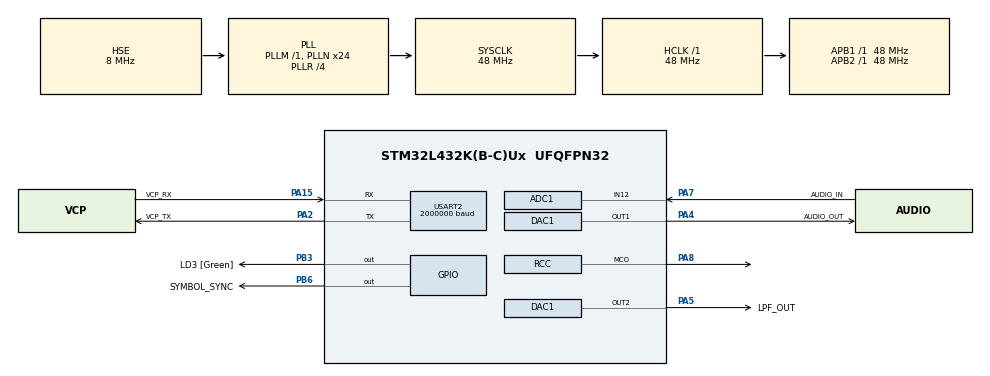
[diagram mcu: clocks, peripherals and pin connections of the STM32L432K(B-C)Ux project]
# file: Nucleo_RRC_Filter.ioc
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ADC1.Channel-0\#ChannelRegularConversion=ADC_CHANNEL_12
ADC1.DMAContinuousRequests=ENABLE
ADC1.ExternalTrigConv=ADC_EXTERNALTRIG_T6_TRGO
ADC1.NbrOfConversionFlag=1
ADC1.OffsetNumber-0\#ChannelRegularConversion=ADC_OFFSET_NONE
ADC1.Rank-0\#ChannelRegularConversion=1
ADC1.SamplingTime-0\#ChannelRegularConversion=ADC_SAMPLETIME_640CYCLES_5
ADC1.master=1
DAC1.DAC_Channel-DAC_OUT2=DAC_CHANNEL_2
DAC1.DAC_Trigger-DAC_OUT1=DAC_TRIGGER_T7_TRGO
DAC1.DAC_Trigger-DAC_OUT2=DAC_TRIGGER_T7_TRGO
Dma.ADC1.0.Direction=DMA_PERIPH_TO_MEMORY
Dma.ADC1.0.Instance=DMA1_Channel1
Dma.ADC1.0.MemDataAlignment=DMA_MDATAALIGN_HALFWORD
Dma.ADC1.0.MemInc=DMA_MINC_ENABLE
Dma.ADC1.0.Mode=DMA_CIRCULAR
Dma.ADC1.0.PeriphDataAlignment=DMA_PDATAALIGN_HALFWORD
Dma.ADC1.0.PeriphInc=DMA_PINC_DISABLE
Dma.ADC1.0.Priority=DMA_PRIORITY_LOW
Dma.DAC_CH1.1.Direction=DMA_MEMORY_TO_PERIPH
Dma.DAC_CH1.1.Instance=DMA1_Channel3
Dma.DAC_CH1.1.MemDataAlignment=DMA_MDATAALIGN_HALFWORD
Dma.DAC_CH1.1.MemInc=DMA_MINC_ENABLE
Dma.DAC_CH1.1.Mode=DMA_CIRCULAR
Dma.DAC_CH1.1.PeriphDataAlignment=DMA_PDATAALIGN_HALFWORD
Dma.DAC_CH1.1.PeriphInc=DMA_PINC_DISABLE
Dma.DAC_CH1.1.Priority=DMA_PRIORITY_LOW
Dma.DAC_CH2.4.Direction=DMA_MEMORY_TO_PERIPH
Dma.DAC_CH2.4.Instance=DMA1_Channel4
Dma.DAC_CH2.4.MemDataAlignment=DMA_MDATAALIGN_HALFWORD
Dma.DAC_CH2.4.MemInc=DMA_MINC_ENABLE
Dma.DAC_CH2.4.Mode=DMA_CIRCULAR
Dma.DAC_CH2.4.PeriphDataAlignment=DMA_PDATAALIGN_HALFWORD
Dma.DAC_CH2.4.PeriphInc=DMA_PINC_DISABLE
Dma.DAC_CH2.4.Priority=DMA_PRIORITY_LOW
Dma.Request0=ADC1
Dma.Request1=DAC_CH1
Dma.Request2=USART2_RX
Dma.Request3=USART2_TX
Dma.Request4=DAC_CH2
Dma.USART2_RX.2.Direction=DMA_PERIPH_TO_MEMORY
Dma.USART2_RX.2.Instance=DMA1_Channel6
Dma.USART2_RX.2.MemDataAlignment=DMA_MDATAALIGN_BYTE
Dma.USART2_RX.2.MemInc=DMA_MINC_ENABLE
Dma.USART2_RX.2.Mode=DMA_NORMAL
Dma.USART2_RX.2.PeriphDataAlignment=DMA_PDATAALIGN_BYTE
Dma.USART2_RX.2.PeriphInc=DMA_PINC_DISABLE
Dma.USART2_RX.2.Priority=DMA_PRIORITY_LOW
Dma.USART2_TX.3.Direction=DMA_MEMORY_TO_PERIPH
Dma.USART2_TX.3.Instance=DMA1_Channel7
Dma.USART2_TX.3.MemDataAlignment=DMA_MDATAALIGN_BYTE
Dma.USART2_TX.3.MemInc=DMA_MINC_ENABLE
Dma.USART2_TX.3.Mode=DMA_NORMAL
Dma.USART2_TX.3.PeriphDataAlignment=DMA_PDATAALIGN_BYTE
Dma.USART2_TX.3.PeriphInc=DMA_PINC_DISABLE
Dma.USART2_TX.3.Priority=DMA_PRIORITY_LOW
Mcu.Family=STM32L4
Mcu.Name=STM32L432K(B-C)Ux
Mcu.Package=UFQFPN32
NVIC.DMA1_Channel1_IRQn=true\:0\:0\:false\:false\:true\:false\:true\:true
NVIC.DMA1_Channel3_IRQn=true\:0\:0\:false\:false\:true\:false\:true\:true
NVIC.DMA1_Channel4_IRQn=true\:0\:0\:false\:false\:true\:false\:true\:true
NVIC.DMA1_Channel6_IRQn=true\:0\:0\:false\:false\:true\:false\:true\:true
NVIC.DMA1_Channel7_IRQn=true\:0\:0\:false\:false\:true\:false\:true\:true
NVIC.PriorityGroup=NVIC_PRIORITYGROUP_4
PA0.GPIO_Label=MCO [High speed clock in]
PA0.Mode=HSE-External-Clock-Source-for-LittleOrca
PA0.Signal=RCC_CK_IN
PA13\ (JTMS-SWDIO).GPIO_Label=SWDIO
PA13\ (JTMS-SWDIO).Mode=Serial_Wire
PA13\ (JTMS-SWDIO).Signal=SYS_JTMS-SWDIO
PA14\ (JTCK-SWCLK).GPIO_Label=SWCLK
PA14\ (JTCK-SWCLK).Mode=Serial_Wire
PA14\ (JTCK-SWCLK).Signal=SYS_JTCK-SWCLK
PA15\ (JTDI).GPIO_Label=VCP_RX
PA15\ (JTDI).Mode=Asynchronous
PA15\ (JTDI).Signal=USART2_RX
PA2.GPIO_Label=VCP_TX
PA2.Mode=Asynchronous
PA2.Signal=USART2_TX
PA4.GPIO_Label=AUDIO_OUT
PA4.Signal=COMP_DAC11_group
PA5.GPIO_Label=LPF_OUT
PA5.Signal=COMP_DAC12_group
PA7.GPIO_Label=AUDIO_IN
PA7.Signal=ADCx_IN12
PA8.Mode=Clock-out
PA8.Signal=RCC_MCO
PB3\ (JTDO-TRACESWO).GPIO_Label=LD3 [Green]
PB3\ (JTDO-TRACESWO).Signal=GPIO_Output
PB6.GPIO_Label=SYMBOL_SYNC
PB6.Signal=GPIO_Output
PC14-OSC32_IN\ (PC14).Mode=LSE-External-Oscillator
PC14-OSC32_IN\ (PC14).Signal=RCC_OSC32_IN
PC15-OSC32_OUT\ (PC15).Mode=LSE-External-Oscillator
PC15-OSC32_OUT\ (PC15).Signal=RCC_OSC32_OUT
ProjectManager.HeapSize=0x200
ProjectManager.StackSize=0x400
ProjectManager.TargetToolchain=CMake
RCC.ADCFreq_Value=32000000
RCC.AHBFreq_Value=48000000
RCC.APB1Freq_Value=48000000
RCC.APB1TimFreq_Value=48000000
RCC.APB2Freq_Value=48000000
RCC.APB2TimFreq_Value=48000000
RCC.CortexFreq_Value=48000000
RCC.HCLKFreq_Value=48000000
RCC.HSE_VALUE=8000000
RCC.HSI16_VALUE=16000000
RCC.HSI48_VALUE=48000000
RCC.HSI_VALUE=16000000
RCC.MSI_VALUE=4000000
RCC.PLLMUL=RCC_PLLMUL_4
RCC.PLLN=24
RCC.PLLR=RCC_PLLR_DIV4
RCC.PLLSourceVirtual=RCC_PLLSOURCE_HSE
RCC.RCC_MCODiv=RCC_MCODIV_8
RCC.SYSCLKFreq_VALUE=48000000
RCC.SYSCLKSource=RCC_SYSCLKSOURCE_PLLCLK
RCC.USART2CLockSelection=RCC_USART2CLKSOURCE_SYSCLK
RCC.USBFreq_Value=32000000
RCC.VCOOutputFreq_Value=192000000
SH.ADCx_IN12.0=ADC1_IN12,IN12-Single-Ended
SH.COMP_DAC11_group.0=DAC1_OUT1,DAC_OUT1
SH.COMP_DAC12_group.0=DAC1_OUT2,DAC_OUT2
STMicroelectronics.X-CUBE-ALGOBUILD.1.4.0.LibraryCcDSPOoLibraryJjDSPOoLibrary=true
TIM6.AutoReloadPreload=TIM_AUTORELOAD_PRELOAD_ENABLE
TIM6.Period=999
TIM6.Prescaler=0
TIM6.TIM_MasterOutputTrigger=TIM_TRGO_UPDATE
TIM7.AutoReloadPreload=TIM_AUTORELOAD_PRELOAD_ENABLE
TIM7.Period=999
TIM7.Prescaler=0
TIM7.TIM_MasterOutputTrigger=TIM_TRGO_UPDATE
USART2.BaudRate=2000000
USART2.OverSampling=UART_OVERSAMPLING_8
USART2.VirtualMode-Asynchronous=VM_ASYNC
VP_STMicroelectronics.X-CUBE-ALGOBUILD_VS_DSPOoLibraryJjLibrary_1.4.0_1.4.0.Mode=DSPOoLibraryJjLibrary
VP_TIM6_VS_ClockSourceINT.Mode=Enable_Timer
VP_TIM7_VS_ClockSourceINT.Mode=Enable_Timer
board=NUCLEO-L432KC

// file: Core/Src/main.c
/* USER CODE BEGIN Header */
/**
  ******************************************************************************
  * @file           : main.c
  * @brief          : Main program body
  ******************************************************************************
  * @attention
  *
  * Copyright (c) 2024 STMicroelectronics.
  * All rights reserved.
  *
  * This software is licensed under terms that can be found in the LICENSE file
  * in the root directory of this software component.
  * If no LICENSE file comes with this software, it is provided AS-IS.
  *
  ******************************************************************************
  */
/* USER CODE END Header */
#include "main.h"

/* USER CODE BEGIN Includes */

#include "arm_math.h"

/* USER CODE END Includes */

ADC_HandleTypeDef hadc1;
DMA_HandleTypeDef hdma_adc1;

DAC_HandleTypeDef hdac1;
DMA_HandleTypeDef hdma_dac_ch1;
DMA_HandleTypeDef hdma_dac_ch2;

TIM_HandleTypeDef htim6;
TIM_HandleTypeDef htim7;

UART_HandleTypeDef huart2;
DMA_HandleTypeDef hdma_usart2_rx;
DMA_HandleTypeDef hdma_usart2_tx;

/* USER CODE BEGIN PV */

typedef enum { NONE, FIRST, SECOND } DmaState;
volatile DmaState adcState = 0;
volatile DmaState dacState = 0;

#define BLOCK_SIZE 10

uint16_t adc_buffer[BLOCK_SIZE * 2];
uint16_t dac_buffer[BLOCK_SIZE * 4];
uint16_t dac1_buffer[BLOCK_SIZE * 2];
uint16_t dac2_buffer[BLOCK_SIZE * 2];

/* USER CODE END PV */

void SystemClock_Config(void);
static void MX_GPIO_Init(void);
static void MX_DMA_Init(void);
static void MX_USART2_UART_Init(void);
static void MX_ADC1_Init(void);
static void MX_DAC1_Init(void);
static void MX_TIM6_Init(void);
static void MX_TIM7_Init(void);
/* USER CODE BEGIN PFP */
static void rrc_filter(void);
/* USER CODE END PFP */

/* USER CODE BEGIN 0 */

// DMA Conversion half complete.
void HAL_DAC_ConvHalfCpltCallbackCh1(DAC_HandleTypeDef*) {
  dacState = 1;
  HAL_GPIO_WritePin(LD3_GPIO_Port, LD3_Pin, GPIO_PIN_SET);
}

void HAL_DAC_ConvCpltCallbackCh1(DAC_HandleTypeDef*) {
  dacState = 2;
  HAL_GPIO_WritePin(LD3_GPIO_Port, LD3_Pin, GPIO_PIN_RESET);
}

// DMA Conversion first half complete.
void HAL_ADC_ConvHalfCpltCallback(ADC_HandleTypeDef* hadc) {
  UNUSED(hadc);
  adcState = FIRST;
}

// DMA Conversion second half complete.
void HAL_ADC_ConvCpltCallback(ADC_HandleTypeDef* hadc) {
  UNUSED(hadc);
  adcState = SECOND;
}

static const int16_t filter_taps[] = {
    -17, -19, -16, -10, -2, 7, 15, 20, 20, 15, 6, -6, -18, -27, -31, -28, -19, -3, 15, 33, 46, 52, 47, 32, 9, -17, -41, -57, -60, -46, -17, 25, 70, 109, 130, 124, 82, 4, -104, -230, -355, -452, -495, -460, -326, -83, 269, 716, 1231, 1778, 2313, 2790, 3167, 3409, 3492, 3409, 3167, 2790, 2313, 1778, 1231, 716, 269, -83, -326, -460, -495, -452, -355, -230, -104, 4, 82, 124, 130, 109, 70, 25, -17, -46, -60, -57, -41, -17, 9, 32, 47, 52, 46, 33, 15, -3, -19, -28, -31, -27, -18, -6, 6, 15, 20, 20, 15, 7, -2, -10, -16, -19, -17, 0
};

#define TAPS (sizeof(filter_taps) / sizeof(int16_t))

static q15_t fir_state[TAPS + BLOCK_SIZE];

volatile uint16_t ym1 = 0;
uint16_t lp_filter(uint16_t x)
{
  uint16_t y = ym1 + (((x << 3) - ym1) >> 13);
  ym1 = y;

  return y >> 3;
}

HAL_StatusTypeDef start_dac_dual_dma(DAC_HandleTypeDef *hdac, uint32_t *pData, uint32_t Length)
{
  HAL_StatusTypeDef status;
  uint32_t tmpreg = 0U;

  /* Process locked */
  __HAL_LOCK(hdac);

  /* Change DAC state */
  hdac->State = HAL_DAC_STATE_BUSY;

  /* Set the DMA transfer complete callback for channel1 */
  hdac->DMA_Handle1->XferCpltCallback = DAC_DMAConvCpltCh1;

  /* Set the DMA half transfer complete callback for channel1 */
  hdac->DMA_Handle1->XferHalfCpltCallback = DAC_DMAHalfConvCpltCh1;

  /* Set the DMA error callback for channel1 */
  hdac->DMA_Handle1->XferErrorCallback = DAC_DMAErrorCh1;

  /* Enable the selected DAC channel1 DMA request */
  SET_BIT(hdac->Instance->CR, DAC_CR_DMAEN1);

  tmpreg = (uint32_t) hdac->Instance;
  tmpreg += DAC_DHR12RD_ALIGNMENT(DAC_ALIGN_12B_R);

  /* Enable the DMA channel */
  /* Enable the DAC DMA underrun interrupt */
  __HAL_DAC_ENABLE_IT(hdac, DAC_IT_DMAUDR1);

  /* Enable the DMA channel */
  status = HAL_DMA_Start_IT(hdac->DMA_Handle1, (uint32_t)pData, tmpreg, Length);

  /* Process Unlocked */
  __HAL_UNLOCK(hdac);

  if (status == HAL_OK)
  {
    /* Enable the Peripheral */
    __HAL_DAC_ENABLE(hdac, DAC_CHANNEL_1);
    __HAL_DAC_ENABLE(hdac, DAC_CHANNEL_2);

  }
  else
  {
    hdac->ErrorCode |= HAL_DAC_ERROR_DMA;
  }

  /* Return function status */
  return status;
}

void rrc_filter()
{
  arm_fir_instance_q15 fir_instance;
  q15_t raw_data[BLOCK_SIZE];
  q15_t filtered_data[BLOCK_SIZE];

  arm_fir_init_q15(&fir_instance, TAPS, filter_taps, fir_state, BLOCK_SIZE);
  if (HAL_TIM_Base_Start(&htim6) != HAL_OK) Error_Handler();
  if (HAL_TIM_Base_Start(&htim7) != HAL_OK) Error_Handler();

  if (HAL_ADC_Start_DMA(&hadc1, (uint32_t*) adc_buffer, BLOCK_SIZE * 2) != HAL_OK) Error_Handler();

  uint32_t block_count = 0;
  const uint32_t TIMER_ADJUST = 120;

  while (1) {
    switch (adcState) {
      case FIRST:
        adcState = NONE;
        for (size_t i = 0; i != BLOCK_SIZE; ++i) {
          raw_data[i] = adc_buffer[i] - 2048;
        }
        arm_fir_q15(&fir_instance, raw_data, filtered_data, BLOCK_SIZE);
        for (size_t i = 0; i != BLOCK_SIZE; ++i) {
          uint16_t s = filtered_data[i] + 2048;
          uint16_t f = lp_filter(s);
          dac_buffer[i*2] = s;
          dac_buffer[i*2 + 1] = f;
          dac1_buffer[i] = s;
          dac2_buffer[i] = f;
        }
        if (dacState == NONE) {
          // start_dac_dual_dma(&hdac1, (uint32_t*) dac_buffer, BLOCK_SIZE * 2);
          HAL_DAC_Start_DMA(&hdac1, DAC_CHANNEL_1, (uint32_t*) dac1_buffer, BLOCK_SIZE * 2, DAC_ALIGN_12B_R);
          HAL_DAC_Start_DMA(&hdac1, DAC_CHANNEL_2, (uint32_t*) dac2_buffer, BLOCK_SIZE * 2, DAC_ALIGN_12B_R);
          dacState = 2;
        }
        block_count += 1;
        if (block_count == 1) {
          __HAL_TIM_SET_AUTORELOAD(&htim6, 999);
          __HAL_TIM_SET_AUTORELOAD(&htim7, 999);
        } else if (block_count == TIMER_ADJUST) {
          __HAL_TIM_SET_AUTORELOAD(&htim6, 998);
          __HAL_TIM_SET_AUTORELOAD(&htim7, 998);
          block_count = 0;
        }
        break;
      case SECOND:
        adcState = NONE;
        for (size_t i = 0; i != BLOCK_SIZE; ++i) {
          raw_data[i] = adc_buffer[BLOCK_SIZE + i] - 2048;
        }
        arm_fir_q15(&fir_instance, raw_data, filtered_data, BLOCK_SIZE);
        for (size_t i = 0; i != BLOCK_SIZE; ++i) {
          uint16_t s = filtered_data[i] + 2048;
          uint16_t f = lp_filter(s);
          dac_buffer[BLOCK_SIZE + i*2] = s;
          dac_buffer[BLOCK_SIZE + i*2 + 1] = f;
          dac1_buffer[BLOCK_SIZE + i] = s;
          dac2_buffer[BLOCK_SIZE + i] = f;
        }
        block_count += 1;
        if (block_count == 1) {
          __HAL_TIM_SET_AUTORELOAD(&htim6, 999);
          __HAL_TIM_SET_AUTORELOAD(&htim7, 999);
        } else if (block_count == TIMER_ADJUST) {
          __HAL_TIM_SET_AUTORELOAD(&htim6, 998);
          __HAL_TIM_SET_AUTORELOAD(&htim7, 998);
          block_count = 0;
        }
        break;
      default:
        break;
    }
  }
}

/* USER CODE END 0 */

int main(void)
{

  /* MCU Configuration--------------------------------------------------------*/

  /* Reset of all peripherals, Initializes the Flash interface and the Systick. */
  HAL_Init();

  /* Configure the system clock */
  SystemClock_Config();

  /* Initialize all configured peripherals */
  MX_GPIO_Init();
  MX_DMA_Init();
  MX_USART2_UART_Init();
  MX_ADC1_Init();
  MX_DAC1_Init();
  MX_TIM6_Init();
  MX_TIM7_Init();
  /* USER CODE BEGIN 2 */
  rrc_filter();
  /* USER CODE END 2 */

  /* Infinite loop */
  while (1)
  {

  }
}

void SystemClock_Config(void)
{
  RCC_OscInitTypeDef RCC_OscInitStruct = {0};
  RCC_ClkInitTypeDef RCC_ClkInitStruct = {0};

  /** Configure the main internal regulator output voltage
  */
  if (HAL_PWREx_ControlVoltageScaling(PWR_REGULATOR_VOLTAGE_SCALE1) != HAL_OK)
  {
    Error_Handler();
  }

  /** Initializes the RCC Oscillators according to the specified parameters
  * in the RCC_OscInitTypeDef structure.
  */
  RCC_OscInitStruct.OscillatorType = RCC_OSCILLATORTYPE_HSE;
  RCC_OscInitStruct.HSEState = RCC_HSE_BYPASS;
  RCC_OscInitStruct.PLL.PLLState = RCC_PLL_ON;
  RCC_OscInitStruct.PLL.PLLSource = RCC_PLLSOURCE_HSE;
  RCC_OscInitStruct.PLL.PLLM = 1;
  RCC_OscInitStruct.PLL.PLLN = 24;
  RCC_OscInitStruct.PLL.PLLP = RCC_PLLP_DIV7;
  RCC_OscInitStruct.PLL.PLLQ = RCC_PLLQ_DIV2;
  RCC_OscInitStruct.PLL.PLLR = RCC_PLLR_DIV4;
  if (HAL_RCC_OscConfig(&RCC_OscInitStruct) != HAL_OK)
  {
    Error_Handler();
  }

  /** Initializes the CPU, AHB and APB buses clocks
  */
  RCC_ClkInitStruct.ClockType = RCC_CLOCKTYPE_HCLK|RCC_CLOCKTYPE_SYSCLK
                              |RCC_CLOCKTYPE_PCLK1|RCC_CLOCKTYPE_PCLK2;
  RCC_ClkInitStruct.SYSCLKSource = RCC_SYSCLKSOURCE_PLLCLK;
  RCC_ClkInitStruct.AHBCLKDivider = RCC_SYSCLK_DIV1;
  RCC_ClkInitStruct.APB1CLKDivider = RCC_HCLK_DIV1;
  RCC_ClkInitStruct.APB2CLKDivider = RCC_HCLK_DIV1;

  if (HAL_RCC_ClockConfig(&RCC_ClkInitStruct, FLASH_LATENCY_2) != HAL_OK)
  {
    Error_Handler();
  }
  HAL_RCC_MCOConfig(RCC_MCO1, RCC_MCO1SOURCE_SYSCLK, RCC_MCODIV_8);
}

static void MX_ADC1_Init(void)
{

  ADC_ChannelConfTypeDef sConfig = {0};

  /** Common config
  */
  hadc1.Instance = ADC1;
  hadc1.Init.ClockPrescaler = ADC_CLOCK_ASYNC_DIV1;
  hadc1.Init.Resolution = ADC_RESOLUTION_12B;
  hadc1.Init.DataAlign = ADC_DATAALIGN_RIGHT;
  hadc1.Init.ScanConvMode = ADC_SCAN_DISABLE;
  hadc1.Init.EOCSelection = ADC_EOC_SINGLE_CONV;
  hadc1.Init.LowPowerAutoWait = DISABLE;
  hadc1.Init.ContinuousConvMode = DISABLE;
  hadc1.Init.NbrOfConversion = 1;
  hadc1.Init.DiscontinuousConvMode = DISABLE;
  hadc1.Init.ExternalTrigConv = ADC_EXTERNALTRIG_T6_TRGO;
  hadc1.Init.ExternalTrigConvEdge = ADC_EXTERNALTRIGCONVEDGE_RISING;
  hadc1.Init.DMAContinuousRequests = ENABLE;
  hadc1.Init.Overrun = ADC_OVR_DATA_PRESERVED;
  hadc1.Init.OversamplingMode = DISABLE;
  if (HAL_ADC_Init(&hadc1) != HAL_OK)
  {
    Error_Handler();
  }

  /** Configure Regular Channel
  */
  sConfig.Channel = ADC_CHANNEL_12;
  sConfig.Rank = ADC_REGULAR_RANK_1;
  sConfig.SamplingTime = ADC_SAMPLETIME_640CYCLES_5;
  sConfig.SingleDiff = ADC_SINGLE_ENDED;
  sConfig.OffsetNumber = ADC_OFFSET_NONE;
  sConfig.Offset = 0;
  if (HAL_ADC_ConfigChannel(&hadc1, &sConfig) != HAL_OK)
  {
    Error_Handler();
  }

}

static void MX_DAC1_Init(void)
{

  DAC_ChannelConfTypeDef sConfig = {0};

  /** DAC Initialization
  */
  hdac1.Instance = DAC1;
  if (HAL_DAC_Init(&hdac1) != HAL_OK)
  {
    Error_Handler();
  }

  /** DAC channel OUT1 config
  */
  sConfig.DAC_SampleAndHold = DAC_SAMPLEANDHOLD_DISABLE;
  sConfig.DAC_Trigger = DAC_TRIGGER_T7_TRGO;
  sConfig.DAC_OutputBuffer = DAC_OUTPUTBUFFER_ENABLE;
  sConfig.DAC_ConnectOnChipPeripheral = DAC_CHIPCONNECT_DISABLE;
  sConfig.DAC_UserTrimming = DAC_TRIMMING_FACTORY;
  if (HAL_DAC_ConfigChannel(&hdac1, &sConfig, DAC_CHANNEL_1) != HAL_OK)
  {
    Error_Handler();
  }

  /** DAC channel OUT2 config
  */
  if (HAL_DAC_ConfigChannel(&hdac1, &sConfig, DAC_CHANNEL_2) != HAL_OK)
  {
    Error_Handler();
  }

}

static void MX_TIM6_Init(void)
{

  TIM_MasterConfigTypeDef sMasterConfig = {0};

  htim6.Instance = TIM6;
  htim6.Init.Prescaler = 0;
  htim6.Init.CounterMode = TIM_COUNTERMODE_UP;
  htim6.Init.Period = 999;
  htim6.Init.AutoReloadPreload = TIM_AUTORELOAD_PRELOAD_ENABLE;
  if (HAL_TIM_Base_Init(&htim6) != HAL_OK)
  {
    Error_Handler();
  }
  sMasterConfig.MasterOutputTrigger = TIM_TRGO_UPDATE;
  sMasterConfig.MasterSlaveMode = TIM_MASTERSLAVEMODE_DISABLE;
  if (HAL_TIMEx_MasterConfigSynchronization(&htim6, &sMasterConfig) != HAL_OK)
  {
    Error_Handler();
  }

}

static void MX_TIM7_Init(void)
{

  TIM_MasterConfigTypeDef sMasterConfig = {0};

  htim7.Instance = TIM7;
  htim7.Init.Prescaler = 0;
  htim7.Init.CounterMode = TIM_COUNTERMODE_UP;
  htim7.Init.Period = 999;
  htim7.Init.AutoReloadPreload = TIM_AUTORELOAD_PRELOAD_ENABLE;
  if (HAL_TIM_Base_Init(&htim7) != HAL_OK)
  {
    Error_Handler();
  }
  sMasterConfig.MasterOutputTrigger = TIM_TRGO_UPDATE;
  sMasterConfig.MasterSlaveMode = TIM_MASTERSLAVEMODE_DISABLE;
  if (HAL_TIMEx_MasterConfigSynchronization(&htim7, &sMasterConfig) != HAL_OK)
  {
    Error_Handler();
  }

}

static void MX_USART2_UART_Init(void)
{

  huart2.Instance = USART2;
  huart2.Init.BaudRate = 2000000;
  huart2.Init.WordLength = UART_WORDLENGTH_8B;
  huart2.Init.StopBits = UART_STOPBITS_1;
  huart2.Init.Parity = UART_PARITY_NONE;
  huart2.Init.Mode = UART_MODE_TX_RX;
  huart2.Init.HwFlowCtl = UART_HWCONTROL_NONE;
  huart2.Init.OverSampling = UART_OVERSAMPLING_8;
  huart2.Init.OneBitSampling = UART_ONE_BIT_SAMPLE_DISABLE;
  huart2.AdvancedInit.AdvFeatureInit = UART_ADVFEATURE_NO_INIT;
  if (HAL_UART_Init(&huart2) != HAL_OK)
  {
    Error_Handler();
  }

}

static void MX_DMA_Init(void)
{

  /* DMA controller clock enable */
  __HAL_RCC_DMA1_CLK_ENABLE();

  /* DMA interrupt init */
  /* DMA1_Channel1_IRQn interrupt configuration */
  HAL_NVIC_SetPriority(DMA1_Channel1_IRQn, 0, 0);
  HAL_NVIC_EnableIRQ(DMA1_Channel1_IRQn);
  /* DMA1_Channel3_IRQn interrupt configuration */
  HAL_NVIC_SetPriority(DMA1_Channel3_IRQn, 0, 0);
  HAL_NVIC_EnableIRQ(DMA1_Channel3_IRQn);
  /* DMA1_Channel4_IRQn interrupt configuration */
  HAL_NVIC_SetPriority(DMA1_Channel4_IRQn, 0, 0);
  HAL_NVIC_EnableIRQ(DMA1_Channel4_IRQn);
  /* DMA1_Channel6_IRQn interrupt configuration */
  HAL_NVIC_SetPriority(DMA1_Channel6_IRQn, 0, 0);
  HAL_NVIC_EnableIRQ(DMA1_Channel6_IRQn);
  /* DMA1_Channel7_IRQn interrupt configuration */
  HAL_NVIC_SetPriority(DMA1_Channel7_IRQn, 0, 0);
  HAL_NVIC_EnableIRQ(DMA1_Channel7_IRQn);

}

static void MX_GPIO_Init(void)
{
  GPIO_InitTypeDef GPIO_InitStruct = {0};

  /* GPIO Ports Clock Enable */
  __HAL_RCC_GPIOC_CLK_ENABLE();
  __HAL_RCC_GPIOA_CLK_ENABLE();
  __HAL_RCC_GPIOB_CLK_ENABLE();
  __HAL_RCC_GPIOH_CLK_ENABLE();

  /*Configure GPIO pin Output Level */
  HAL_GPIO_WritePin(GPIOB, LD3_Pin|SYMBOL_SYNC_Pin, GPIO_PIN_RESET);

  /*Configure GPIO pins : PA1 PA3 PA6 PA9
                           PA10 PA11 PA12 */
  GPIO_InitStruct.Pin = GPIO_PIN_1|GPIO_PIN_3|GPIO_PIN_6|GPIO_PIN_9
                          |GPIO_PIN_10|GPIO_PIN_11|GPIO_PIN_12;
  GPIO_InitStruct.Mode = GPIO_MODE_ANALOG;
  GPIO_InitStruct.Pull = GPIO_NOPULL;
  HAL_GPIO_Init(GPIOA, &GPIO_InitStruct);

  /*Configure GPIO pins : PB0 PB1 PB4 PB5
                           PB7 */
  GPIO_InitStruct.Pin = GPIO_PIN_0|GPIO_PIN_1|GPIO_PIN_4|GPIO_PIN_5
                          |GPIO_PIN_7;
  GPIO_InitStruct.Mode = GPIO_MODE_ANALOG;
  GPIO_InitStruct.Pull = GPIO_NOPULL;
  HAL_GPIO_Init(GPIOB, &GPIO_InitStruct);

  /*Configure GPIO pin : PA8 */
  GPIO_InitStruct.Pin = GPIO_PIN_8;
  GPIO_InitStruct.Mode = GPIO_MODE_AF_PP;
  GPIO_InitStruct.Pull = GPIO_NOPULL;
  GPIO_InitStruct.Speed = GPIO_SPEED_FREQ_LOW;
  GPIO_InitStruct.Alternate = GPIO_AF0_MCO;
  HAL_GPIO_Init(GPIOA, &GPIO_InitStruct);

  /*Configure GPIO pins : LD3_Pin SYMBOL_SYNC_Pin */
  GPIO_InitStruct.Pin = LD3_Pin|SYMBOL_SYNC_Pin;
  GPIO_InitStruct.Mode = GPIO_MODE_OUTPUT_PP;
  GPIO_InitStruct.Pull = GPIO_NOPULL;
  GPIO_InitStruct.Speed = GPIO_SPEED_FREQ_LOW;
  HAL_GPIO_Init(GPIOB, &GPIO_InitStruct);

  /*Configure GPIO pin : PH3 */
  GPIO_InitStruct.Pin = GPIO_PIN_3;
  GPIO_InitStruct.Mode = GPIO_MODE_ANALOG;
  GPIO_InitStruct.Pull = GPIO_NOPULL;
  HAL_GPIO_Init(GPIOH, &GPIO_InitStruct);

}

void Error_Handler(void)
{
  __disable_irq();
  while (1)
  {
  }
}
